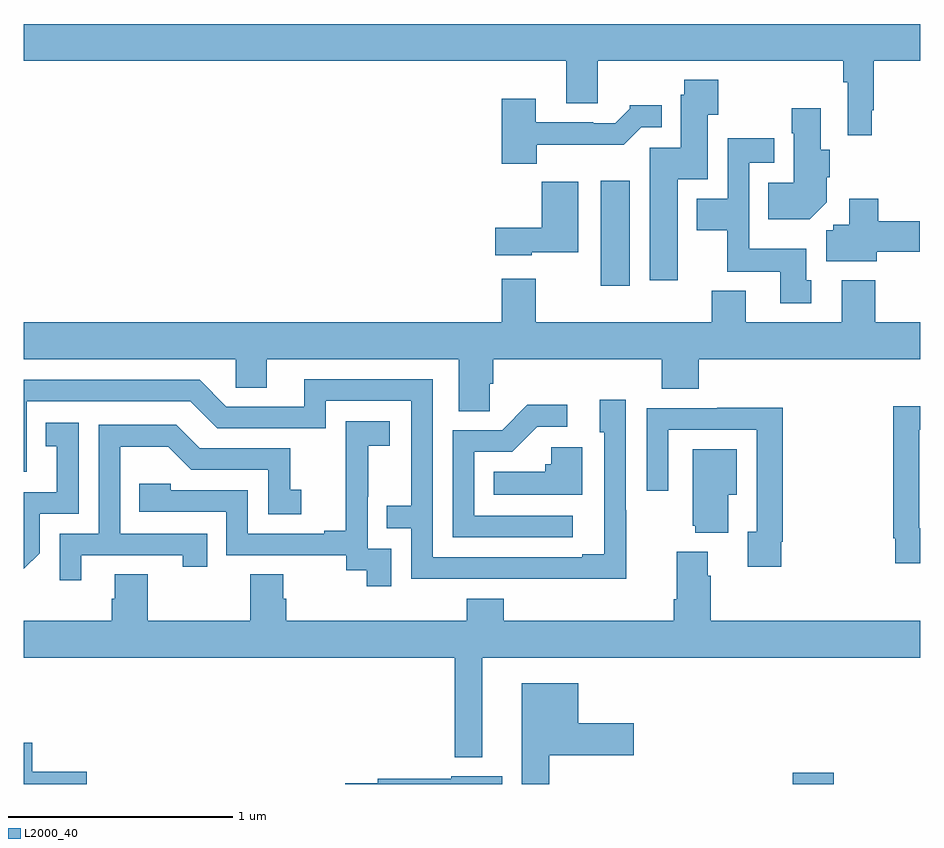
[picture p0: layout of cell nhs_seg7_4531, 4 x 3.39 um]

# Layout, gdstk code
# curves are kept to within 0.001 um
import gdstk
lib = gdstk.Library(unit=1e-6, precision=1e-09)
def R(c, l, rs):  # rectangles x0, y0, x1, y1
    for r in rs: c.add(gdstk.rectangle(r[:2], r[2:], *l))
def P(c, l, *ps):  # polygons
    for p in ps: c.add(gdstk.Polygon(p, *l))
L2000_40 = (2000, 40)

nhs_seg7_4531 = lib.new_cell('nhs_seg7_4531')
R(nhs_seg7_4531, L2000_40, [(398.432,1052,398.615,1052.05), (397.574,1054.224,397.705,1054.693)])
P(nhs_seg7_4531, L2000_40, [(398.785,1055.008),(398.792,1055.008),(398.792,1055.228),(399,1055.228),(399,1055.392),(395,1055.392),(395,1055.228),(397.421,1055.228),(397.421,1055.038),(397.561,1055.038),(397.561,1055.228),(398.656,1055.228),(398.656,1055.132),(398.676,1055.132),(398.676,1054.896),(398.785,1054.896)],
  [(397.918,1054.7),(398.053,1054.7),(398.053,1054.987),(398.1,1054.987),(398.1,1055.143),(397.948,1055.143),(397.948,1055.076),(397.931,1055.076),(397.931,1054.839),(397.793,1054.839),(397.793,1054.248),(397.918,1054.248)],
  [(397.288,1054.854),(397.677,1054.854),(397.755,1054.932),(397.846,1054.932),(397.846,1055.029),(397.704,1055.029),(397.704,1055.014),(397.64,1054.95),(397.541,1054.95),(397.541,1054.953),(397.285,1054.953),(397.285,1055.059),(397.133,1055.059),(397.133,1054.769),(397.288,1054.769)],
  [(398.584,1054.597),(398.584,1054.708),(398.597,1054.708),(398.597,1054.83),(398.557,1054.83),(398.557,1055.017),(398.428,1055.017),(398.428,1054.904),(398.435,1054.904),(398.435,1054.684),(398.323,1054.684),(398.323,1054.52),(398.507,1054.52)],
  [(398.515,1054.248),(398.491,1054.248),(398.491,1054.39),(398.238,1054.39),(398.238,1054.773),(398.35,1054.773),(398.35,1054.881),(398.142,1054.881),(398.142,1054.612),(398.003,1054.612),(398.003,1054.472),(398.14,1054.472),(398.14,1054.286),(398.375,1054.286),(398.375,1054.146),(398.515,1054.146)],
  [(397.266,1054.373),(397.474,1054.373),(397.474,1054.687),(397.312,1054.687),(397.312,1054.483),(397.104,1054.483),(397.104,1054.361),(397.266,1054.361)],
  [(398.806,1054.376),(398.998,1054.376),(398.998,1054.511),(398.814,1054.511),(398.814,1054.612),(398.684,1054.612),(398.684,1054.497),(398.613,1054.497),(398.613,1054.472),(398.58,1054.472),(398.58,1054.334),(398.806,1054.334)],
  [(395,1053.896),(395.946,1053.896),(395.946,1053.769),(396.085,1053.769),(396.085,1053.896),(396.941,1053.896),(396.941,1053.664),(397.08,1053.664),(397.08,1053.787),(397.094,1053.787),(397.094,1053.896),(397.847,1053.896),(397.847,1053.763),(398.012,1053.763),(398.012,1053.896),(399,1053.896),(399,1054.06),(398.799,1054.06),(398.799,1054.249),(398.651,1054.249),(398.651,1054.06),(398.221,1054.06),(398.221,1054.201),(398.069,1054.201),(398.069,1054.06),(397.285,1054.06),(397.285,1054.255),(397.133,1054.255),(397.133,1054.06),(395,1054.06)],
  [(397.689,1053.221),(397.686,1053.221),(397.686,1053.715),(397.571,1053.715),(397.571,1053.57),(397.59,1053.57),(397.59,1053.025),(397.493,1053.025),(397.493,1053.012),(396.825,1053.012),(396.825,1053.807),(396.251,1053.807),(396.251,1053.684),(395.904,1053.684),(395.784,1053.804),(395,1053.804),(395,1053.393),(395.013,1053.393),(395.013,1053.708),(395.742,1053.708),(395.862,1053.588),(396.348,1053.588),(396.348,1053.711),(396.729,1053.711),(396.729,1053.242),(396.619,1053.242),(396.619,1053.141),(396.729,1053.141),(396.729,1052.916),(397.689,1052.915)],
  [(397.45,1053.198),(397.011,1053.198),(397.011,1053.483),(397.18,1053.483),(397.291,1053.594),(397.426,1053.594),(397.426,1053.692),(397.247,1053.692),(397.134,1053.579),(396.915,1053.579),(396.915,1053.102),(397.45,1053.102)],
  [(399,1053.141),(398.997,1053.141),(398.997,1053.582),(399,1053.582),(399,1053.685),(398.881,1053.685),(398.881,1053.097),(398.889,1053.097),(398.889,1052.985),(399,1052.985)],
  [(398.38,1053.082),(398.387,1053.082),(398.387,1053.68),(398.095,1053.68),(398.095,1053.678),(397.779,1053.678),(397.779,1053.309),(397.875,1053.309),(397.875,1053.582),(398.271,1053.582),(398.271,1053.126),(398.231,1053.126),(398.231,1052.97),(398.38,1052.97)],
  [(396.639,1053.051),(396.534,1053.051),(396.534,1053.281),(396.536,1053.281),(396.536,1053.509),(396.634,1053.509),(396.634,1053.619),(396.436,1053.619),(396.436,1053.413),(396.437,1053.413),(396.437,1053.13),(396.341,1053.13),(396.341,1053.117),(396,1053.117),(396,1053.312),(395.655,1053.312),(395.655,1053.339),(395.515,1053.339),(395.515,1053.216),(395.904,1053.216),(395.904,1053.021),(396.438,1053.021),(396.438,1052.953),(396.531,1052.953),(396.531,1052.883),(396.639,1052.883)],
  [(395.07,1053.03),(395.07,1053.207),(395.244,1053.207),(395.244,1053.613),(395.098,1053.613),(395.098,1053.507),(395.147,1053.507),(395.147,1053.303),(395,1053.303),(395,1052.961)],
  [(395.257,1053.021),(395.708,1053.021),(395.708,1052.97),(395.819,1052.97),(395.819,1053.117),(395.43,1053.117),(395.43,1053.506),(395.644,1053.506),(395.748,1053.402),(396.09,1053.402),(396.09,1053.204),(396.238,1053.204),(396.238,1053.313),(396.189,1053.313),(396.189,1053.498),(395.785,1053.498),(395.68,1053.603),(395.334,1053.603),(395.334,1053.117),(395.16,1053.117),(395.16,1052.91),(395.257,1052.91)],
  [(397.492,1053.502),(397.353,1053.502),(397.353,1053.426),(397.327,1053.426),(397.327,1053.394),(397.096,1053.394),(397.096,1053.29),(397.492,1053.29)],
  [(398.143,1053.29),(398.182,1053.29),(398.182,1053.493),(397.985,1053.493),(397.985,1053.153),(397.997,1053.153),(397.997,1053.122),(398.143,1053.122)],
  [(397.045,1052.564),(399,1052.564),(399,1052.728),(398.066,1052.728),(398.066,1052.93),(398.053,1052.93),(398.053,1053.037),(397.913,1053.037),(397.913,1052.824),(397.901,1052.824),(397.901,1052.728),(397.142,1052.728),(397.142,1052.827),(396.977,1052.827),(396.977,1052.728),(396.17,1052.728),(396.17,1052.826),(396.157,1052.826),(396.157,1052.936),(396.01,1052.936),(396.01,1052.728),(395.553,1052.728),(395.553,1052.936),(395.405,1052.936),(395.405,1052.826),(395.393,1052.826),(395.393,1052.728),(395,1052.728),(395,1052.564),(396.924,1052.564),(396.924,1052.12),(397.045,1052.12)],
  [(397.345,1052.129),(397.723,1052.129),(397.723,1052.271),(397.474,1052.271),(397.474,1052.449),(397.223,1052.449),(397.223,1052),(397.345,1052)],
  [(395.281,1052.054),(395.038,1052.054),(395.038,1052.185),(395,1052.185),(395,1052),(395.281,1052)],
  [(397.135,1052.035),(396.908,1052.035),(396.908,1052.024),(396.58,1052.024),(396.58,1052.004),(396.434,1052.004),(396.434,1052),(397.135,1052)])

lib.write_gds('nhs_seg7_4531.gds')
